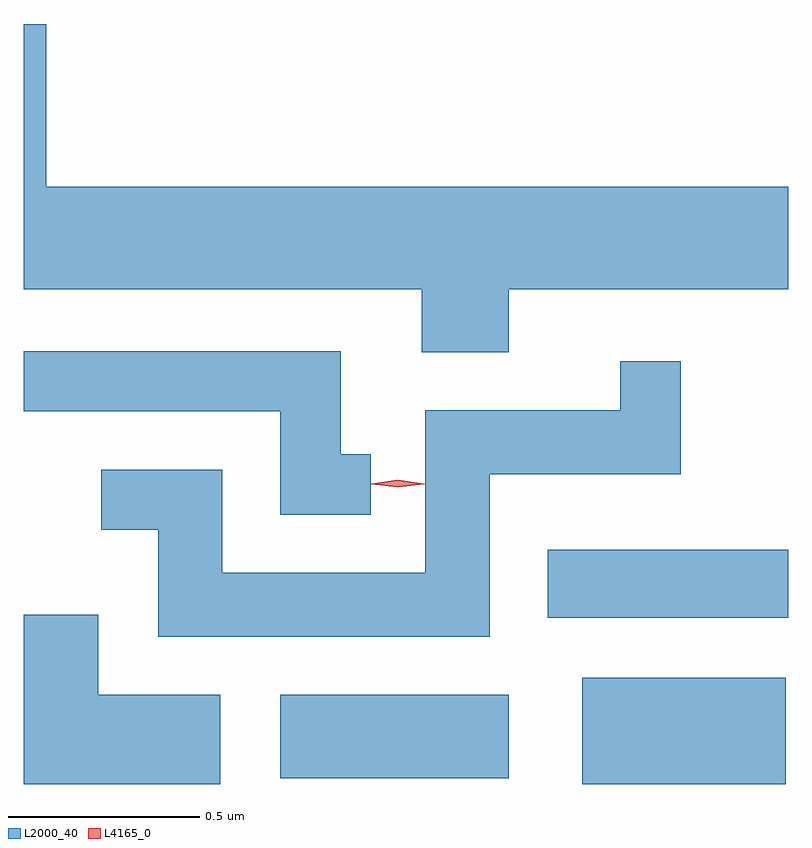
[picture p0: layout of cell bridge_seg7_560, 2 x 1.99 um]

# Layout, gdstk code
import gdstk
lib = gdstk.Library(unit=1e-6, precision=1e-09)
def R(c, l, rs):  # rectangles x0, y0, x1, y1
    for r in rs: c.add(gdstk.rectangle(r[:2], r[2:], *l))
def P(c, l, *ps):  # polygons
    for p in ps: c.add(gdstk.Polygon(p, *l))
L2000_40 = (2000, 40)
L4165_0 = (4165, 0)

bridge_seg7_560 = lib.new_cell('bridge_seg7_560')
R(bridge_seg7_560, L2000_40, [(852.501,1744.101,853.034,1744.379), (851.711,1744.116,852.309,1744.334), (852.411,1744.536,853.04,1744.714)])
P(bridge_seg7_560, L2000_40, [(852.309,1745.396),(853.04,1745.396),(853.04,1745.664),(851.099,1745.664),(851.099,1746.09),(851.04,1746.09),(851.04,1745.396),(852.081,1745.396),(852.081,1745.231),(852.309,1745.231)],
  [(851.948,1744.964),(851.869,1744.964),(851.869,1745.234),(851.04,1745.234),(851.04,1745.076),(851.711,1745.076),(851.711,1744.806),(851.948,1744.806)],
  [(852.259,1744.911),(852.759,1744.911),(852.759,1745.208),(852.601,1745.208),(852.601,1745.079),(852.091,1745.079),(852.091,1744.654),(851.559,1744.654),(851.559,1744.924),(851.243,1744.924),(851.243,1744.766),(851.391,1744.766),(851.391,1744.486),(852.259,1744.486)],
  [(851.554,1744.334),(851.234,1744.334),(851.234,1744.544),(851.04,1744.544),(851.04,1744.101),(851.554,1744.101)])
P(bridge_seg7_560, L4165_0, [(852.018,1744.877),(851.949,1744.886),(851.949,1744.887),(851.949,1744.887),(852.018,1744.897),(852.088,1744.887),(852.088,1744.887),(852.088,1744.886)])

lib.write_gds('bridge_seg7_560.gds')
